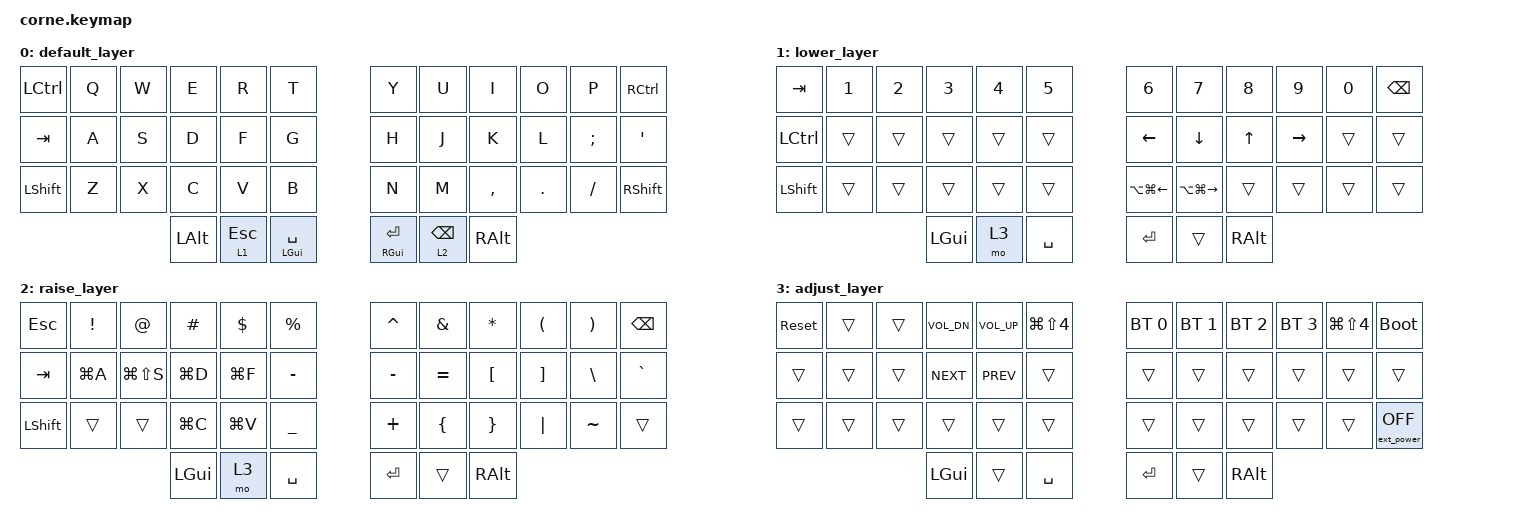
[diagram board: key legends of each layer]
/*
 * Copyright (c) 2020 The ZMK Contributors
 *
 * SPDX-License-Identifier: MIT
 */

#include <behaviors.dtsi>
#include <dt-bindings/zmk/keys.h>
#include <dt-bindings/zmk/bt.h>
#include <dt-bindings/zmk/outputs.h>
#include <dt-bindings/zmk/ext_power.h>
#include <dt-bindings/led/led.h>
#include <dt-bindings/zmk/backlight.h>
#include <dt-bindings/zmk/rgb.h>
#include <dt-bindings/zmk/reset.h>



/ {
    combos {
        compatible = "zmk,combos";
        combo_cmd_shift_s {
            timeout-ms = <50>;
            key-positions = <13 41>;    // S key + right thumb key (backspace)
            bindings = <&kp LG(LS(S))>;
        };
    };

    behaviors {
        bhm: balanced_homerow_mods {
            compatible = "zmk,behavior-hold-tap";
            label = "BALANCED_HOMEROW_MODS";
            #binding-cells = <2>;
            tapping-term-ms = <200>;
            quick-tap-ms = <0>;
            flavor = "balanced";
            bindings = <&kp>, <&kp>;
        };

        lhm: layer_hold_mods {
            compatible = "zmk,behavior-hold-tap";
            label = "LAYER_HOLD_MODS";
            #binding-cells = <2>;
            tapping-term-ms = <200>;
            quick-tap-ms = <200>;
            flavor = "hold-preferred";
            bindings = <&mo>, <&kp>;
        };

        lt_bspc: layer_tap_backspace_hold {
            compatible = "zmk,behavior-hold-tap";
            label = "LAYER_TAP_BACKSPACE_HOLD";
            #binding-cells = <2>;
            tapping-term-ms = <200>;
            quick-tap-ms = <200>;
            global-quick-tap;
            flavor = "hold-preferred";
            bindings = <&mo>, <&bspc>;
        };

        bspc: backspace_mod {
            compatible = "zmk,behavior-mod-morph";
            label = "BACKSPACE_MOD";
            #binding-cells = <0>;
            bindings = <&kp BSPC>, <&kp BSPC>;
            mods = <(MOD_LSFT|MOD_RSFT)>;
        };
    };

    keymap {
        compatible = "zmk,keymap";

        default_layer {
            bindings = <
                &kp LCTRL   &kp Q    &kp W    &kp E     &kp R     &kp T          &kp Y     &kp U     &kp I     &kp O     &kp P     &kp RCTRL
                &kp TAB     &kp A    &kp S    &kp D     &kp F     &kp G          &kp H     &kp J     &kp K     &kp L     &kp SEMI  &kp SQT
                &kp LSHFT   &kp Z    &kp X    &kp C     &kp V     &kp B          &kp N     &kp M     &kp COMMA &kp DOT   &kp FSLH  &kp RSHFT
                                    &kp LALT  &lhm 1 ESC  &bhm LGUI SPACE        &bhm RGUI RET  &lt_bspc 2 BSPC  &kp RALT
            >;
        };

        lower_layer {
            bindings = <
                &kp TAB     &kp N1   &kp N2   &kp N3    &kp N4    &kp N5         &kp N6    &kp N7    &kp N8    &kp N9    &kp N0    &kp BSPC
                &kp LCTRL   &trans   &trans   &trans    &trans    &trans         &kp LEFT  &kp DOWN  &kp UP    &kp RIGHT &trans    &trans
                &kp LSHFT   &trans   &trans   &trans    &trans    &trans         &kp LA(LG(LEFT))  &kp LA(LG(RIGHT))  &trans    &trans    &trans    &trans
                                    &kp LGUI  &mo 3     &kp SPACE               &kp RET   &trans    &kp RALT
            >;
        };

        raise_layer {
            bindings = <
                &kp ESC     &kp EXCL  &kp AT   &kp HASH  &kp DLLR  &kp PRCNT      &kp CARET &kp AMPS  &kp STAR  &kp LPAR  &kp RPAR  &kp BSPC
                &kp TAB     &kp LG(A) &kp LG(LS(S)) &kp LG(D) &kp LG(F) &kp MINUS  &kp MINUS &kp EQUAL &kp LBKT  &kp RBKT  &kp BSLH  &kp GRAVE
                &kp LSHFT   &trans    &trans   &kp LG(C) &kp LG(V) &kp UNDER      &kp PLUS  &kp LBRC  &kp RBRC  &kp PIPE  &kp TILDE &trans
                                    &kp LGUI  &mo 3     &kp SPACE               &kp RET   &trans    &kp RALT
            >;
        };

        adjust_layer {
            bindings = <
                &sys_reset  &trans    &trans &kp C_VOL_DN &kp C_VOL_UP  &kp LG(LS(N4))    &bt BT_SEL 0    &bt BT_SEL 1    &bt BT_SEL 2    &bt BT_SEL 3    &kp LG(LS(N4)) &bootloader
                &trans      &trans    &trans &kp C_NEXT   &kp C_PREV    &trans            &trans    &trans    &trans    &trans    &trans    &trans
                &trans      &trans    &trans &trans       &trans        &trans            &trans    &trans    &trans    &trans    &trans    &ext_power EP_OFF
                                    &kp LGUI  &trans      &kp SPACE                       &kp RET   &trans    &kp RALT
            >;
        };
    };
};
